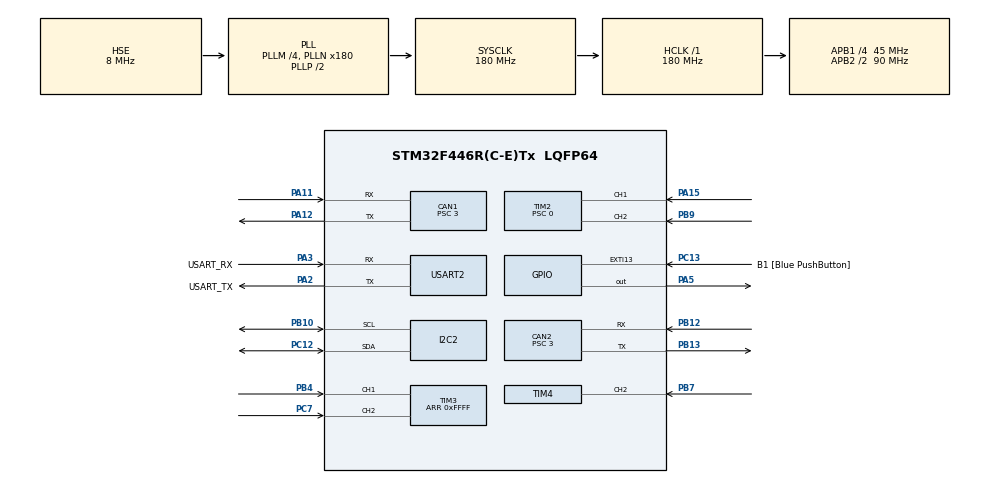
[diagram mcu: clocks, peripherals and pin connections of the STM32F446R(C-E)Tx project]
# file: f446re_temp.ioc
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CAN1.BS1=CAN_BS1_12TQ
CAN1.BS2=CAN_BS2_2TQ
CAN1.CalculateBaudRate=1000000
CAN1.CalculateTimeBit=1000
CAN1.CalculateTimeQuantum=66.66666666666666
CAN1.Prescaler=3
CAN2.BS1=CAN_BS1_12TQ
CAN2.BS2=CAN_BS2_2TQ
CAN2.CalculateBaudRate=1000000
CAN2.CalculateTimeBit=1000
CAN2.CalculateTimeQuantum=66.66666666666666
CAN2.Prescaler=3
Dma.Request0=USART2_RX
Dma.Request1=USART2_TX
Dma.USART2_RX.0.Direction=DMA_PERIPH_TO_MEMORY
Dma.USART2_RX.0.FIFOMode=DMA_FIFOMODE_DISABLE
Dma.USART2_RX.0.Instance=DMA1_Stream5
Dma.USART2_RX.0.MemDataAlignment=DMA_MDATAALIGN_BYTE
Dma.USART2_RX.0.MemInc=DMA_MINC_ENABLE
Dma.USART2_RX.0.Mode=DMA_CIRCULAR
Dma.USART2_RX.0.PeriphDataAlignment=DMA_PDATAALIGN_BYTE
Dma.USART2_RX.0.PeriphInc=DMA_PINC_DISABLE
Dma.USART2_RX.0.Priority=DMA_PRIORITY_VERY_HIGH
Dma.USART2_TX.1.Direction=DMA_MEMORY_TO_PERIPH
Dma.USART2_TX.1.FIFOMode=DMA_FIFOMODE_DISABLE
Dma.USART2_TX.1.Instance=DMA1_Stream6
Dma.USART2_TX.1.MemDataAlignment=DMA_MDATAALIGN_BYTE
Dma.USART2_TX.1.MemInc=DMA_MINC_ENABLE
Dma.USART2_TX.1.Mode=DMA_NORMAL
Dma.USART2_TX.1.PeriphDataAlignment=DMA_PDATAALIGN_BYTE
Dma.USART2_TX.1.PeriphInc=DMA_PINC_DISABLE
Dma.USART2_TX.1.Priority=DMA_PRIORITY_VERY_HIGH
FREERTOS.Tasks01=defaultTask,24,3000,StartDefaultTask,Default,NULL,Dynamic,NULL,NULL;myTask02,8,128,StartTask02,Default,NULL,Dynamic,NULL,NULL
Mcu.Family=STM32F4
Mcu.Name=STM32F446R(C-E)Tx
Mcu.Package=LQFP64
NVIC.CAN1_RX0_IRQn=true\:5\:0\:false\:false\:true\:true\:true\:true\:true
NVIC.DMA1_Stream5_IRQn=true\:5\:0\:false\:false\:true\:true\:false\:true\:true
NVIC.DMA1_Stream6_IRQn=true\:5\:0\:false\:false\:true\:true\:false\:true\:true
NVIC.PriorityGroup=NVIC_PRIORITYGROUP_4
NVIC.TIM6_DAC_IRQn=true\:15\:0\:false\:false\:true\:false\:false\:true\:true
NVIC.TimeBase=TIM6_DAC_IRQn
NVIC.TimeBaseIP=TIM6
NVIC.USART2_IRQn=true\:5\:0\:false\:false\:true\:true\:true\:true\:true
PA11.Mode=CAN_Activate
PA11.Signal=CAN1_RX
PA12.Mode=CAN_Activate
PA12.Signal=CAN1_TX
PA13.GPIO_Label=TMS
PA13.Mode=Serial_Wire
PA13.Signal=SYS_JTMS-SWDIO
PA14.GPIO_Label=TCK
PA14.Mode=Serial_Wire
PA14.Signal=SYS_JTCK-SWCLK
PA15.Signal=S_TIM2_CH1_ETR
PA2.GPIO_Label=USART_TX
PA2.Mode=Asynchronous
PA2.Signal=USART2_TX
PA3.GPIO_Label=USART_RX
PA3.Mode=Asynchronous
PA3.Signal=USART2_RX
PA5.Signal=GPIO_Output
PB10.GPIO_Pu=GPIO_PULLUP
PB10.Mode=I2C
PB10.Signal=I2C2_SCL
PB12.Mode=CAN_Activate
PB12.Signal=CAN2_RX
PB13.Mode=CAN_Activate
PB13.Signal=CAN2_TX
PB3.GPIO_Label=SWO
PB3.Signal=SYS_JTDO-SWO
PB4.Signal=S_TIM3_CH1
PB7.Signal=S_TIM4_CH2
PB9.Signal=S_TIM2_CH2
PC12.GPIO_Pu=GPIO_PULLUP
PC12.Mode=I2C
PC12.Signal=I2C2_SDA
PC13.GPIO_Label=B1 [Blue PushButton]
PC13.GPIO_ModeDefaultEXTI=GPIO_MODE_IT_FALLING
PC13.Signal=GPXTI13
PC14-OSC32_IN.Mode=LSE-External-Oscillator
PC14-OSC32_IN.Signal=RCC_OSC32_IN
PC15-OSC32_OUT.Mode=LSE-External-Oscillator
PC15-OSC32_OUT.Signal=RCC_OSC32_OUT
PC7.Signal=S_TIM3_CH2
PH0-OSC_IN.Mode=HSE-External-Oscillator
PH0-OSC_IN.Signal=RCC_OSC_IN
PH1-OSC_OUT.Mode=HSE-External-Oscillator
PH1-OSC_OUT.Signal=RCC_OSC_OUT
ProjectManager.HeapSize=0x200
ProjectManager.StackSize=0x400
ProjectManager.TargetToolchain=STM32CubeIDE
RCC.48MHZClocksFreq_Value=84000000
RCC.AHBFreq_Value=180000000
RCC.APB1CLKDivider=RCC_HCLK_DIV4
RCC.APB1Freq_Value=45000000
RCC.APB1TimFreq_Value=90000000
RCC.APB2CLKDivider=RCC_HCLK_DIV2
RCC.APB2Freq_Value=90000000
RCC.APB2TimFreq_Value=180000000
RCC.CortexFreq_Value=180000000
RCC.FLatency-AdvancedSettings=FLASH_LATENCY_5
RCC.HCLKFreq_Value=180000000
RCC.HSE_VALUE=8000000
RCC.HSI_VALUE=16000000
RCC.PLLM=4
RCC.PLLN=180
RCC.PLLSourceVirtual=RCC_PLLSOURCE_HSE
RCC.SYSCLKFreq_VALUE=180000000
RCC.SYSCLKSource=RCC_SYSCLKSOURCE_PLLCLK
RCC.USBFreq_Value=180000000
RCC.VCOOutputFreq_Value=360000000
SH.S_TIM2_CH1_ETR.0=TIM2_CH1,Encoder_Interface
SH.S_TIM2_CH2.0=TIM2_CH2,Encoder_Interface
SH.S_TIM3_CH1.0=TIM3_CH1,Encoder_Interface
SH.S_TIM3_CH2.0=TIM3_CH2,Encoder_Interface
SH.S_TIM4_CH2.0=TIM4_CH2,PWM_Input_2
TIM2.EncoderMode=TIM_ENCODERMODE_TI12
TIM2.Period=0xFFFFFFFF
TIM2.Prescaler=0
TIM3.EncoderMode=TIM_ENCODERMODE_TI12
TIM3.Period=0xFFFF
USART2.VirtualMode=VM_ASYNC
VP_FREERTOS_VS_CMSIS_V2.Mode=CMSIS_V2
VP_SYS_VS_tim6.Mode=TIM6
board=NUCLEO-F446RE

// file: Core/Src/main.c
/* USER CODE BEGIN Header */
/**
  ******************************************************************************
  * @file           : main.c
  * @brief          : Main program body
  ******************************************************************************
  * @attention
  *
  * Copyright (c) 2023 STMicroelectronics.
  * All rights reserved.
  *
  * This software is licensed under terms that can be found in the LICENSE file
  * in the root directory of this software component.
  * If no LICENSE file comes with this software, it is provided AS-IS.
  *
  ******************************************************************************
  */
/* USER CODE END Header */
#include "main.h"
#include "cmsis_os.h"

/* USER CODE BEGIN Includes */
#include <rcl/rcl.h>
#include <rcl/error_handling.h>
#include <rclc/rclc.h>
#include <rclc/executor.h>
#include <uxr/client/transport.h>
#include <rmw_microxrcedds_c/config.h>
#include <rmw_microros/rmw_microros.h>
#include "bno055_stm32.h"
#include "Encoder.h"
#include "PS5.h"
#include "duty.h"
#include "ODrive.h"
#include "Robomaster.h"

#include <std_msgs/msg/int32.h>
#include <std_msgs/msg/float32.h>
#include <std_msgs/msg/string.h>
#include <std_msgs/msg/int32_multi_array.h>
#include <geometry_msgs/msg/twist.h>
#include <sensor_msgs/msg/joy.h>
#include <sensor_msgs/msg/imu.h>
#include <rosidl_runtime_c/string_functions.h>

#include <stdio.h>
#include <string.h>
#include <math.h>
/* USER CODE END Includes */

/* USER CODE BEGIN PD */
#define RCCHECK(fn) do { \
	rcl_ret_t temp_rc = (fn); \
	if ((temp_rc != RCL_RET_OK)) { \
		rcl_last_error_line = (uint32_t)__LINE__; \
		rcl_last_error_code = (int32_t)temp_rc; \
		rcl_hard_error_count++; \
		return; \
	} \
} while(0)
#define RCSOFTCHECK(fn) do { \
	rcl_ret_t temp_rc = (fn); \
	if ((temp_rc != RCL_RET_OK)) { \
		rcl_last_error_line = (uint32_t)__LINE__; \
		rcl_last_error_code = (int32_t)temp_rc; \
		rcl_soft_error_count++; \
	} \
} while(0)
/* USER CODE END PD */

/* USER CODE BEGIN PM */
rcl_publisher_t publisher_float;
std_msgs__msg__Float32 pub_float_msg;

rcl_publisher_t publisher_int;
std_msgs__msg__Int32 pub_int_msg;

rcl_publisher_t publisher_en;
std_msgs__msg__Int32 pub_en_msg;

rcl_publisher_t publisher_can;
std_msgs__msg__Int32 pub_can_msg;

rcl_publisher_t publisher_ext;
std_msgs__msg__Float32 pub_ext_msg;

rcl_publisher_t publisher_can_ext;
std_msgs__msg__String pub_can_ext_msg;

rcl_publisher_t publisher;
std_msgs__msg__String msg;
/* USER CODE END PM */

CAN_HandleTypeDef hcan1;
CAN_HandleTypeDef hcan2;

I2C_HandleTypeDef hi2c2;

TIM_HandleTypeDef htim2;
TIM_HandleTypeDef htim3;
TIM_HandleTypeDef htim4;

UART_HandleTypeDef huart2;
DMA_HandleTypeDef hdma_usart2_rx;
DMA_HandleTypeDef hdma_usart2_tx;

/* Definitions for defaultTask */
osThreadId_t defaultTaskHandle;
const osThreadAttr_t defaultTask_attributes = {
  .name = "defaultTask",
  .stack_size = 3000 * 4,
  .priority = (osPriority_t) osPriorityNormal,
};
/* Definitions for myTask02 */
osThreadId_t myTask02Handle;
const osThreadAttr_t myTask02_attributes = {
  .name = "myTask02",
  .stack_size = 128 * 4,
  .priority = (osPriority_t) osPriorityLow,
};
/* Definitions for canTxTask */
osThreadId_t canTxTaskHandle;
const osThreadAttr_t canTxTask_attributes = {
  .name = "canTxTask",
  .stack_size = 128 * 4,
  .priority = (osPriority_t) osPriorityLow,
};
/* USER CODE BEGIN PV */
PS5 ps5;
float can_1 = 0;
Axis axis1;
Axis axis2;
Axis axis3;
Axis axis4;
static uint8_t can1_ready = 0U;
static uint8_t can2_ready = 0U;
static volatile uint32_t can1_rx_overflow_count = 0U;
static volatile uint32_t can2_rx_error_count = 0U;
static volatile uint32_t can1_tx_drop_count = 0U;
static volatile uint32_t can1_tx_error_count = 0U;
static volatile uint32_t ps5_last_rx_ms = 0U;
static volatile uint32_t cmd_vel_last_rx_ms = 0U;
static volatile float cmd_vel_linear_x = 0.0f;
static volatile float cmd_vel_linear_y = 0.0f;
static volatile float cmd_vel_angular_z = 0.0f;
static volatile uint8_t emergency_stop_active = 0U;
static volatile uint32_t rcl_last_error_line = 0U;
static volatile int32_t rcl_last_error_code = 0;
static volatile uint32_t rcl_hard_error_count = 0U;
static volatile uint32_t rcl_soft_error_count = 0U;
static volatile uint32_t default_task_error_flags = 0U;
static volatile uint32_t task_create_error_flags = 0U;
static volatile uint32_t can_init_error_flags = 0U;

#define DEFAULT_TASK_ERR_ALLOCATOR   (1UL << 0)
#define DEFAULT_TASK_ERR_IMU_INIT    (1UL << 1)
#define DEFAULT_TASK_ERR_FRAME_ID    (1UL << 2)
#define TASK_CREATE_ERR_DEFAULT      (1UL << 0)
#define TASK_CREATE_ERR_TASK02       (1UL << 1)
#define TASK_CREATE_ERR_CANTX        (1UL << 2)
#define CAN_INIT_ERR_CAN1_START      (1UL << 0)
#define CAN_INIT_ERR_CAN2_START      (1UL << 1)
#define CAN_INIT_ERR_CAN1_NOTIFY     (1UL << 2)
#define CAN_INIT_ERR_CAN2_NOTIFY     (1UL << 3)
#define CAN_INIT_ERR_TXQ_CREATE      (1UL << 4)

#define PS5_INPUT_TIMEOUT_MS 200U

#define ODRIVE_MONITOR_NODE_COUNT 4U
static const uint8_t odrive_monitor_node_order[ODRIVE_MONITOR_NODE_COUNT] = {1U, 2U, 3U, 4U};
static volatile uint32_t odrive_hb_rx_count[ODRIVE_MONITOR_NODE_COUNT] = {0U, 0U, 0U, 0U};
static volatile uint32_t odrive_hb_last_tick_ms[ODRIVE_MONITOR_NODE_COUNT] = {0U, 0U, 0U, 0U};
static volatile int32_t odrive_hb_last_gap_ms[ODRIVE_MONITOR_NODE_COUNT] = {-1, -1, -1, -1};
static volatile uint32_t odrive_hb_max_gap_ms[ODRIVE_MONITOR_NODE_COUNT] = {0U, 0U, 0U, 0U};
static volatile uint32_t odrive_hb_seq_ok_count = 0U;
static volatile uint32_t odrive_hb_seq_ng_count = 0U;
static volatile uint8_t odrive_hb_expected_order_idx = 0U;

double g_heading = 0.0;
double g_roll = 0.0;
double g_pitch = 0.0;

double g_quaternion_w = 0.0;
double g_quaternion_x = 0.0;
double g_quaternion_y = 0.0;
double g_quaternion_z = 0.0;

double g_accel_x = 0.0;
double g_accel_y = 0.0;
double g_accel_z = 0.0;

double g_gyro_x = 0.0;
double g_gyro_y = 0.0;
double g_gyro_z = 0.0;

double g_mag_x = 0.0;
double g_mag_y = 0.0;
double g_mag_z = 0.0;

double g_linear_accel_x = 0.0;
double g_linear_accel_y = 0.0;
double g_linear_accel_z = 0.0;

double g_gravity_x = 0.0;
double g_gravity_y = 0.0;
double g_gravity_z = 0.0;

uint8_t g_calib_system = 0;
uint8_t g_calib_gyro = 0;
uint8_t g_calib_accel = 0;
uint8_t g_calib_mag = 0;

int8_t g_temperature = 0;
/* USER CODE END PV */

void SystemClock_Config(void);
static void MX_GPIO_Init(void);
static void MX_DMA_Init(void);
static void MX_USART2_UART_Init(void);
static void MX_TIM2_Init(void);
static void MX_CAN1_Init(void);
static void MX_CAN2_Init(void);
static void MX_TIM3_Init(void);
static void MX_TIM4_Init(void);
static void MX_I2C2_Init(void);
void StartDefaultTask(void *argument);
void StartTask02(void *argument);
void StartCanTxTask(void *argument);

/* USER CODE BEGIN PFP */
void sendCAN1(uint32_t id, uint8_t data[], int dlc);
void sendCAN2(uint32_t id, uint8_t data[], int dlc);
void C610_C620(uint32_t id, int16_t order_data[], int can_port);

/* USER CODE END PFP */

/* USER CODE BEGIN 0 */
CAN_RxHeaderTypeDef RxHeaderCAN1;
uint8_t RxDataCAN1[8];

CAN_RxHeaderTypeDef RxHeaderCAN2;
uint8_t RxDataCAN2[8];

uint32_t id;
uint32_t dlc;
uint8_t dataCAN1[8];
uint8_t dataCAN2[8];

#define CAN_TX_QUEUE_LENGTH 32U
typedef struct
{
	CAN_HandleTypeDef *hcan;
	uint32_t std_id;
	uint8_t dlc;
	uint8_t data[8];
} can_tx_request_t;
static osMessageQueueId_t canTxQueueHandle = NULL;
static volatile uint32_t can_tx_queue_fallback_count = 0U;

void updateSensorData(void)
{
  bno055_vector_t euler = bno055_getVectorEuler();
  g_heading = euler.x;
  g_roll = euler.y;
  g_pitch = euler.z;

  bno055_vector_t quat = bno055_getVectorQuaternion();
  g_quaternion_w = quat.w;
  g_quaternion_x = quat.x;
  g_quaternion_y = quat.y;
  g_quaternion_z = quat.z;

  bno055_vector_t accel = bno055_getVectorAccelerometer();
  g_accel_x = accel.x;
  g_accel_y = accel.y;
  g_accel_z = accel.z;

  bno055_vector_t gyro = bno055_getVectorGyroscope();
  g_gyro_x = gyro.x;
  g_gyro_y = gyro.y;
  g_gyro_z = gyro.z;

  bno055_vector_t mag = bno055_getVectorMagnetometer();
  g_mag_x = mag.x;
  g_mag_y = mag.y;
  g_mag_z = mag.z;

  bno055_vector_t linear = bno055_getVectorLinearAccel();
  g_linear_accel_x = linear.x;
  g_linear_accel_y = linear.y;
  g_linear_accel_z = linear.z;

  bno055_vector_t gravity = bno055_getVectorGravity();
  g_gravity_x = gravity.x;
  g_gravity_y = gravity.y;
  g_gravity_z = gravity.z;

  bno055_calibration_state_t calib = bno055_getCalibrationState();
  g_calib_system = calib.sys;
  g_calib_gyro = calib.gyro;
  g_calib_accel = calib.accel;
  g_calib_mag = calib.mag;

  g_temperature = bno055_getTemp();
}

typedef struct
{
	float kp;
	float ki;
	float kd;
	float integral;
	float prev_error;
	float integral_limit;
	float output_limit;
} m3508_pid_t;

#define ODRIVE_CMD_SET_AXIS_STATE            0x07U
#define ODRIVE_CMD_SET_CONTROLLER_MODE       0x0BU
#define ODRIVE_CMD_SET_INPUT_VEL             0x0DU
#define ODRIVE_CMD_CLEAR_ERRORS              0x18U
#define ODRIVE_AXIS_STATE_IDLE               1U
#define ODRIVE_AXIS_STATE_CLOSED_LOOP_CTRL   8U
#define ODRIVE_CONTROL_MODE_VELOCITY         2U
#define ODRIVE_INPUT_MODE_VEL_RAMP           2U
#define ODRIVE_START_BOOST_MS                700U
#define ODRIVE_CMD_ZERO_EPS_REV_S            0.03f
#define ODRIVE_START_CMD_VEL_TH_REV_S        0.15f
#define ODRIVE_START_ACTUAL_VEL_TH_REV_S     0.08f
#define ODRIVE_CANCEL_ACTUAL_VEL_TH_REV_S    0.30f
#define ODRIVE_START_BOOST_MAX_NM            1.20f
#define ODRIVE_STOP_RESET_ZERO_HOLD_MS       150U
#define ODRIVE_STOP_RESET_IDLE_HOLD_MS       30U
#define ODRIVE_STOP_RESET_RECOVER_MS         30U
#define ODRIVE_CMD_RAMP_ACCEL_REV_S2         4.0f
#define ODRIVE_TX_PERIOD_S                   0.01f
#define ODRIVE_CMD_RAMP_STEP_REV_S           (ODRIVE_CMD_RAMP_ACCEL_REV_S2 * ODRIVE_TX_PERIOD_S)
#define ODRIVE_TWO_PI                        6.28318530718f
#define ODRIVE_JOY_DEADZONE                  0.08f
#define ODRIVE_MAX_VX_MPS                    0.35f
#define ODRIVE_MAX_VY_MPS                    0.35f
#define ODRIVE_MAX_WZ_RADPS                  1.00f
#define ODRIVE_WHEEL_RADIUS_M                0.05f
#define ODRIVE_FR_X_M                        0.228f
#define ODRIVE_FR_Y_M                        0.135f
#define ODRIVE_FL_X_M                        0.228f
#define ODRIVE_FL_Y_M                        0.135f
#define ODRIVE_BR_X_M                        0.102f
#define ODRIVE_BR_Y_M                        0.135f
#define ODRIVE_BL_X_M                        0.102f
#define ODRIVE_BL_Y_M                        0.135f
#define ODRIVE_WHEEL_CMD_MAX_REV_S           3.0f
#define ODRIVE_CROSS_CMD_REV_S               1.0f

int16_t m3508_current_cmd[4] = {0, 0, 0, 0};
m3508_pid_t m3508_speed_pid[4];
int16_t m3508_target_rpm[4] = {0, 0, 0, 0};
moto_measure_t moto1;
moto_measure_t m3508_moto[4];

typedef struct
{
	uint8_t active;
	uint32_t start_ms;
	float prev_cmd_vel;
	float boost_sign;
} odrive_start_boost_state_t;

static odrive_start_boost_state_t odrive_boost_axis1 = {0U, 0U, 0.0f, 0.0f};
static odrive_start_boost_state_t odrive_boost_axis2 = {0U, 0U, 0.0f, 0.0f};
static odrive_start_boost_state_t odrive_boost_axis3 = {0U, 0U, 0.0f, 0.0f};
static odrive_start_boost_state_t odrive_boost_axis4 = {0U, 0U, 0.0f, 0.0f};
static float odrive_cmd_vel_axis1 = 0.0f;
static float odrive_cmd_vel_axis2 = 0.0f;
static float odrive_cmd_vel_axis3 = 0.0f;
static float odrive_cmd_vel_axis4 = 0.0f;

typedef enum
{
	ODRIVE_STOP_RESET_NONE = 0,
	ODRIVE_STOP_RESET_IDLE_SENT,
	ODRIVE_STOP_RESET_CLOSED_LOOP_SENT
} odrive_stop_reset_state_t;

static odrive_stop_reset_state_t odrive_stop_reset_state = ODRIVE_STOP_RESET_NONE;
static uint8_t odrive_stop_reset_armed = 0U;
static uint32_t odrive_stop_zero_start_ms = 0U;
static uint32_t odrive_stop_reset_step_ms = 0U;

static float clampf(float value, float limit)
{
	if (value > limit) return limit;
	if (value < -limit) return -limit;
	return value;
}

static float signf_nonzero(float value)
{
	return (value >= 0.0f) ? 1.0f : -1.0f;
}

static void odrive_reset_start_boost(odrive_start_boost_state_t *state)
{
	if (state == NULL) {
		return;
	}
	state->active = 0U;
	state->start_ms = 0U;
	state->prev_cmd_vel = 0.0f;
	state->boost_sign = 0.0f;
}

static void odrive_reset_start_boost_all(void)
{
	odrive_reset_start_boost(&odrive_boost_axis1);
	odrive_reset_start_boost(&odrive_boost_axis2);
	odrive_reset_start_boost(&odrive_boost_axis3);
	odrive_reset_start_boost(&odrive_boost_axis4);
}

static void odrive_reset_command_ramp_all(void)
{
	odrive_cmd_vel_axis1 = 0.0f;
	odrive_cmd_vel_axis2 = 0.0f;
	odrive_cmd_vel_axis3 = 0.0f;
	odrive_cmd_vel_axis4 = 0.0f;
}

static float ramp_to(float cur, float tgt, float max_step)
{
	float delta = tgt - cur;
	if (delta > max_step) {
		delta = max_step;
	} else if (delta < -max_step) {
		delta = -max_step;
	}
	return cur + delta;
}

static float apply_deadzone(float value, float deadzone)
{
	const float abs_value = fabsf(value);
	if (abs_value <= deadzone) {
		return 0.0f;
	}
	return signf_nonzero(value) * ((abs_value - deadzone) / (1.0f - deadzone));
}

static float odrive_compute_start_boost_ff(
	Axis *axis,
	odrive_start_boost_state_t *state,
	float cmd_vel,
	uint32_t now_ms)
{
	if ((axis == NULL) || (state == NULL)) {
		return 0.0f;
	}

	const float abs_prev_cmd = fabsf(state->prev_cmd_vel);
	const float abs_cmd = fabsf(cmd_vel);
	const float abs_actual_vel = fabsf(axis->feedback.vel_estimate);
	const float cmd_sign = signf_nonzero(cmd_vel);
	float torque_ff = 0.0f;

	// Trigger only on stop -> move transition while the wheel is still near zero speed.
	if ((state->active == 0U) &&
		(abs_prev_cmd <= ODRIVE_CMD_ZERO_EPS_REV_S) &&
		(abs_cmd >= ODRIVE_START_CMD_VEL_TH_REV_S) &&
		(abs_actual_vel <= ODRIVE_START_ACTUAL_VEL_TH_REV_S)) {
		state->active = 1U;
		state->start_ms = now_ms;
		state->boost_sign = cmd_sign;
	}

	if (state->active == 1U) {
		const uint32_t elapsed_ms = (uint32_t)(now_ms - state->start_ms);
		const uint8_t sign_changed = ((cmd_vel * state->boost_sign) <= 0.0f) ? 1U : 0U;
		if ((elapsed_ms >= ODRIVE_START_BOOST_MS) ||
			(abs_actual_vel >= ODRIVE_CANCEL_ACTUAL_VEL_TH_REV_S) ||
			(abs_cmd < ODRIVE_START_CMD_VEL_TH_REV_S) ||
			(sign_changed == 1U)) {
			state->active = 0U;
		} else {
			// Keep static-friction cancellation strong until wheel starts moving.
			torque_ff = state->boost_sign * ODRIVE_START_BOOST_MAX_NM;
		}
	}

	state->prev_cmd_vel = cmd_vel;
	return clampf(torque_ff, ODRIVE_START_BOOST_MAX_NM);
}

static uint32_t odrive_make_can_id(uint8_t axis_id, uint8_t cmd_id)
{
	return (((uint32_t)axis_id << 5U) | ((uint32_t)cmd_id & 0x1FU));
}

static void odrive_send_frame(Axis *axis, uint8_t cmd_id, const uint8_t payload[8], uint8_t dlc)
{
	uint32_t can_id = odrive_make_can_id(axis->AXIS_ID, cmd_id);

	if (axis->CAN_INSTANCE == &hcan1) {
		sendCAN1(can_id, (uint8_t *)payload, dlc);
	} else if (axis->CAN_INSTANCE == &hcan2) {
		sendCAN2(can_id, (uint8_t *)payload, dlc);
	}
}

static void odrive_set_axis_state(Axis *axis, uint32_t axis_state)
{
	uint8_t payload[8] = {0};
	memcpy(&payload[0], &axis_state, sizeof(axis_state)); // little-endian uint32
	odrive_send_frame(axis, ODRIVE_CMD_SET_AXIS_STATE, payload, 4U);
}

static void odrive_set_input_vel(Axis *axis, float vel_rev_s, float torque_ff_nm)
{
	uint8_t payload[8] = {0};
	memcpy(&payload[0], &vel_rev_s, sizeof(vel_rev_s));         // little-endian float32
	memcpy(&payload[4], &torque_ff_nm, sizeof(torque_ff_nm));   // little-endian float32
	odrive_send_frame(axis, ODRIVE_CMD_SET_INPUT_VEL, payload, 8U);
}

static void odrive_set_controller_mode(Axis *axis, uint32_t control_mode, uint32_t input_mode)
{
	uint8_t payload[8] = {0};
	memcpy(&payload[0], &control_mode, sizeof(control_mode)); // little-endian uint32
	memcpy(&payload[4], &input_mode, sizeof(input_mode));     // little-endian uint32
	odrive_send_frame(axis, ODRIVE_CMD_SET_CONTROLLER_MODE, payload, 8U);
}

static void emergency_stop_all_motors(void)
{
	odrive_reset_start_boost_all();
	odrive_reset_command_ramp_all();
	odrive_stop_reset_state = ODRIVE_STOP_RESET_NONE;
	odrive_stop_reset_armed = 0U;
	odrive_stop_zero_start_ms = 0U;
	odrive_stop_reset_step_ms = 0U;

	// ODrive: command zero velocity to all axes.
	odrive_set_input_vel(&axis4, 0.0f, 0.0f);
	odrive_set_input_vel(&axis3, 0.0f, 0.0f);
	odrive_set_input_vel(&axis2, 0.0f, 0.0f);
	odrive_set_input_vel(&axis1, 0.0f, 0.0f);

	// RoboMaster: zero all targets/currents and send zero current frame.
//	for (int i = 0; i < 4; i++) {
//		m3508_target_rpm[i] = 0;
//		m3508_current_cmd[i] = 0;
//	}
//	C610_C620(0x200, m3508_current_cmd, 2);
}

static void odrive_enter_closed_loop_all(void)
{
	odrive_reset_start_boost_all();
	odrive_reset_command_ramp_all();
	odrive_set_controller_mode(&axis4, ODRIVE_CONTROL_MODE_VELOCITY, ODRIVE_INPUT_MODE_VEL_RAMP);
	osDelay(2);
	odrive_set_controller_mode(&axis3, ODRIVE_CONTROL_MODE_VELOCITY, ODRIVE_INPUT_MODE_VEL_RAMP);
	osDelay(2);
	odrive_set_controller_mode(&axis2, ODRIVE_CONTROL_MODE_VELOCITY, ODRIVE_INPUT_MODE_VEL_RAMP);
	osDelay(2);
	odrive_set_controller_mode(&axis1, ODRIVE_CONTROL_MODE_VELOCITY, ODRIVE_INPUT_MODE_VEL_RAMP);
	osDelay(2);

	odrive_set_axis_state(&axis4, ODRIVE_AXIS_STATE_CLOSED_LOOP_CTRL);
	osDelay(2);
	odrive_set_axis_state(&axis3, ODRIVE_AXIS_STATE_CLOSED_LOOP_CTRL);
	osDelay(2);
	odrive_set_axis_state(&axis2, ODRIVE_AXIS_STATE_CLOSED_LOOP_CTRL);
	osDelay(2);
	odrive_set_axis_state(&axis1, ODRIVE_AXIS_STATE_CLOSED_LOOP_CTRL);
}

static void odrive_enter_idle_all(void)
{
	odrive_reset_start_boost_all();
	odrive_reset_command_ramp_all();
	odrive_set_axis_state(&axis4, ODRIVE_AXIS_STATE_IDLE);
	odrive_set_axis_state(&axis3, ODRIVE_AXIS_STATE_IDLE);
	odrive_set_axis_state(&axis2, ODRIVE_AXIS_STATE_IDLE);
	odrive_set_axis_state(&axis1, ODRIVE_AXIS_STATE_IDLE);
}

static uint8_t odrive_handle_stop_integrator_reset(uint8_t command_active, uint32_t now_ms)
{
	if (command_active == 1U) {
		odrive_stop_reset_armed = 1U;
		odrive_stop_zero_start_ms = 0U;
		if (odrive_stop_reset_state != ODRIVE_STOP_RESET_NONE) {
			odrive_enter_closed_loop_all();
			odrive_stop_reset_state = ODRIVE_STOP_RESET_NONE;
		}
		return 0U;
	}

	if (odrive_stop_reset_armed == 0U) {
		return 0U;
	}

	if (odrive_stop_reset_state == ODRIVE_STOP_RESET_NONE) {
		if (odrive_stop_zero_start_ms == 0U) {
			odrive_stop_zero_start_ms = now_ms;
			return 0U;
		}
		if ((now_ms - odrive_stop_zero_start_ms) >= ODRIVE_STOP_RESET_ZERO_HOLD_MS) {
			odrive_enter_idle_all();
			odrive_stop_reset_state = ODRIVE_STOP_RESET_IDLE_SENT;
			odrive_stop_reset_step_ms = now_ms;
			return 1U;
		}
		return 0U;
	}

	if (odrive_stop_reset_state == ODRIVE_STOP_RESET_IDLE_SENT) {
		if ((now_ms - odrive_stop_reset_step_ms) >= ODRIVE_STOP_RESET_IDLE_HOLD_MS) {
			odrive_enter_closed_loop_all();
			odrive_stop_reset_state = ODRIVE_STOP_RESET_CLOSED_LOOP_SENT;
			odrive_stop_reset_step_ms = now_ms;
		}
		return 1U;
	}

	if (odrive_stop_reset_state == ODRIVE_STOP_RESET_CLOSED_LOOP_SENT) {
		if ((now_ms - odrive_stop_reset_step_ms) >= ODRIVE_STOP_RESET_RECOVER_MS) {
			odrive_stop_reset_state = ODRIVE_STOP_RESET_NONE;
			odrive_stop_reset_armed = 0U;
			odrive_stop_zero_start_ms = 0U;
			odrive_stop_reset_step_ms = 0U;
			return 0U;
		}
		return 1U;
	}

	return 0U;
}

static void odrive_dpad_control_from_ps5(void)
{
	const uint8_t cmd_vel_stale = ((HAL_GetTick() - cmd_vel_last_rx_ms) > PS5_INPUT_TIMEOUT_MS) ? 1U : 0U;

	float node1_vel = 0.0f;
	float node2_vel = 0.0f;
	float node3_vel = 0.0f;
	float node4_vel = 0.0f;

	if (cmd_vel_stale == 0U) {
		const float vx_mps = clampf(cmd_vel_linear_x, ODRIVE_MAX_VX_MPS);
		const float vy_mps = clampf(cmd_vel_linear_y, ODRIVE_MAX_VY_MPS);
		const float wz_radps = clampf(cmd_vel_angular_z, ODRIVE_MAX_WZ_RADPS);

		const float inv_wheel_circ = 1.0f / (ODRIVE_TWO_PI * ODRIVE_WHEEL_RADIUS_M);
		const float k_fr = ODRIVE_FR_X_M + ODRIVE_FR_Y_M;
		const float k_fl = ODRIVE_FL_X_M + ODRIVE_FL_Y_M;
		const float k_br = ODRIVE_BR_X_M + ODRIVE_BR_Y_M;
		const float k_bl = ODRIVE_BL_X_M + ODRIVE_BL_Y_M;

		node1_vel = (-vx_mps + vy_mps + (k_fr * wz_radps)) * inv_wheel_circ;
		node2_vel = ( vx_mps + vy_mps + (k_fl * wz_radps)) * inv_wheel_circ;
		node3_vel = (-vx_mps - vy_mps + (k_br * wz_radps)) * inv_wheel_circ;
		node4_vel = ( vx_mps - vy_mps + (k_bl * wz_radps)) * inv_wheel_circ;

		node1_vel = clampf(node1_vel, ODRIVE_WHEEL_CMD_MAX_REV_S);
		node2_vel = clampf(node2_vel, ODRIVE_WHEEL_CMD_MAX_REV_S);
		node3_vel = clampf(node3_vel, ODRIVE_WHEEL_CMD_MAX_REV_S);
		node4_vel = clampf(node4_vel, ODRIVE_WHEEL_CMD_MAX_REV_S);
	}

	odrive_set_input_vel(&axis4, node4_vel, 0.0f);
	odrive_set_input_vel(&axis3, node3_vel, 0.0f);
	odrive_set_input_vel(&axis2, node2_vel, 0.0f);
	odrive_set_input_vel(&axis1, node1_vel, 0.0f);
}

static int8_t odrive_monitor_order_index(uint8_t node_id)
{
	for (uint8_t i = 0U; i < ODRIVE_MONITOR_NODE_COUNT; i++) {
		if (odrive_monitor_node_order[i] == node_id) {
			return (int8_t)i;
		}
	}
	return -1;
}

static void odrive_monitor_on_rx(const CAN_RxHeaderTypeDef *rxHdr)
{
	if (rxHdr == NULL) {
		return;
	}

	if ((rxHdr->IDE != CAN_ID_STD) || (rxHdr->RTR != CAN_RTR_DATA)) {
		return;
	}

	const uint8_t cmd_id = (uint8_t)(rxHdr->StdId & 0x1FU);
	if (cmd_id != HEARTBEAT) {
		return;
	}

	const uint8_t node_id = (uint8_t)(rxHdr->StdId >> 5);
	const int8_t idx = odrive_monitor_order_index(node_id);
	if (idx < 0) {
		return;
	}

	const uint32_t now_ms = HAL_GetTick();
	const uint32_t prev_ms = odrive_hb_last_tick_ms[(uint8_t)idx];

	if (prev_ms != 0U) {
		const uint32_t gap_ms = now_ms - prev_ms;
		odrive_hb_last_gap_ms[(uint8_t)idx] = (int32_t)gap_ms;
		if (gap_ms > odrive_hb_max_gap_ms[(uint8_t)idx]) {
			odrive_hb_max_gap_ms[(uint8_t)idx] = gap_ms;
		}
	}

	odrive_hb_last_tick_ms[(uint8_t)idx] = now_ms;
	odrive_hb_rx_count[(uint8_t)idx]++;
}

void m3508_pid_init(m3508_pid_t *pid, float kp, float ki, float kd, float integral_limit, float output_limit)
{
	pid->kp = kp;
	pid->ki = ki;
	pid->kd = kd;
	pid->integral = 0.0f;
	pid->prev_error = 0.0f;
	pid->integral_limit = integral_limit;
	pid->output_limit = output_limit;
}

int16_t m3508_pid_calc(m3508_pid_t *pid, int16_t target_rpm, int16_t feedback_rpm)
{
	float error = (float)target_rpm - (float)feedback_rpm;
	pid->integral += error;
	pid->integral = clampf(pid->integral, pid->integral_limit);

	float derivative = error - pid->prev_error;
	pid->prev_error = error;

	float output = pid->kp * error + pid->ki * pid->integral + pid->kd * derivative;
	output = clampf(output, pid->output_limit);

	return (int16_t)output;
}

void m3508_pid_init_all(void)
{
		// Start with conservative gains, then tune on hardware
		m3508_pid_init(&m3508_speed_pid[0], 11.9f, 0.02f, 0.0f, 8000.0f, 10000.0f);
		m3508_pid_init(&m3508_speed_pid[1], 8.9f, 0.12f, 0.0f, 8000.0f, 10000.0f);
		m3508_pid_init(&m3508_speed_pid[2], 22.5f, 0.02f, 0.0f, 8000.0f, 10000.0f);
		m3508_pid_init(&m3508_speed_pid[3], 14.0f, 0.07f, 0.0f, 8000.0f, 10000.0f);

}

void m3508_speed_pid_control_all(void)
{
	for (int i = 0; i < 4; i++) {
		int16_t target_rpm = m3508_target_rpm[i];
		if ((i == 0) || (i == 2)) {
			target_rpm = (int16_t)(-target_rpm);
		}

		if (m3508_moto[i].msg_cnt > 50) {
			m3508_current_cmd[i] = m3508_pid_calc(&m3508_speed_pid[i], target_rpm, m3508_moto[i].speed_rpm);
		} else {
			m3508_current_cmd[i] = 0;
		}
	}
}

void HAL_CAN_RxFifo0MsgPendingCallback(CAN_HandleTypeDef *hcan)
{

    if(hcan->Instance == CAN1){
        CAN_RxHeaderTypeDef rxHdr;
        uint8_t rxData[8];
        uint8_t handled = 0U;
        const uint8_t max_frames_per_irq = 8U;

        // ISR占有を防ぐため、1回のIRQで処理するフレーム数を制限する
        while ((HAL_CAN_GetRxFifoFillLevel(hcan, CAN_RX_FIFO0) > 0U) &&
               (handled < max_frames_per_irq)) {
       //	 HAL_GPIO_TogglePin(GPIOA, GPIO_PIN_5);
            if (HAL_CAN_GetRxMessage(hcan, CAN_RX_FIFO0, &rxHdr, rxData) != HAL_OK) {
                break;
            }
            handled++;

            if ((rxHdr.IDE == CAN_ID_STD) && (((uint8_t)(rxHdr.StdId >> 5)) == 4U)) {

            }

            odrive_monitor_on_rx(&rxHdr);

            // CAN1: ODrive axis2/4
            (void)ODrive_ProcessRx(&axis4, &rxHdr, rxData);
            (void)ODrive_ProcessRx(&axis2, &rxHdr, rxData);
        }

        if (HAL_CAN_GetRxFifoFillLevel(hcan, CAN_RX_FIFO0) > 0U) {
            can1_rx_overflow_count++;
        }
    } else if(hcan->Instance == CAN2){
        uint8_t handled = 0U;
        const uint8_t max_frames_per_irq = 8U;

        while ((HAL_CAN_GetRxFifoFillLevel(hcan, CAN_RX_FIFO0) > 0U) &&
               (handled < max_frames_per_irq)) {
            if (HAL_CAN_GetRxMessage(hcan, CAN_RX_FIFO0, &RxHeaderCAN2, RxDataCAN2) != HAL_OK) {
                can2_rx_error_count++;
                break;
            }
            handled++;

//            if (RxHeaderCAN2.IDE == CAN_ID_STD &&
//                RxHeaderCAN2.StdId >= 0x201 &&
//                RxHeaderCAN2.StdId <= 0x204) {
//
//                uint8_t idx = (uint8_t)(RxHeaderCAN2.StdId - 0x201);
//                m3508_moto[idx].msg_cnt++ <= 50 ?
//                    get_moto_offset(&m3508_moto[idx], RxDataCAN2) :
//                    encoder_data_handler(&m3508_moto[idx], RxDataCAN2);
//            }

            odrive_monitor_on_rx(&RxHeaderCAN2);

            // CAN2: ODrive axis1/3 + M3508
            (void)ODrive_ProcessRx(&axis3, &RxHeaderCAN2, RxDataCAN2);
            (void)ODrive_ProcessRx(&axis1, &RxHeaderCAN2, RxDataCAN2);

            id = (RxHeaderCAN2.IDE == CAN_ID_STD)? RxHeaderCAN2.StdId : RxHeaderCAN2.ExtId;
            dlc = RxHeaderCAN2.DLC;
            for(int i=0; i<RxHeaderCAN2.DLC; i++){
                dataCAN2[i] = RxDataCAN2[i];
            }
        }
    }
}

void subscription_cmd_vel_callback(const void * msgin)
{
  HAL_GPIO_WritePin(GPIOA, GPIO_PIN_5, GPIO_PIN_SET); //LED turned on

  geometry_msgs__msg__Twist * msg = (geometry_msgs__msg__Twist *)msgin;

  cmd_vel_linear_x = (float)msg->linear.x;
  cmd_vel_linear_y = (float)msg->linear.y;
  cmd_vel_angular_z = (float)msg->angular.z;
  cmd_vel_last_rx_ms = HAL_GetTick();
}

static void can_enqueue_tx(CAN_HandleTypeDef *hcan, uint32_t id, const uint8_t data[], uint8_t dlc)
{
	if ((hcan == NULL) || (data == NULL)) {
		return;
	}

	if (canTxQueueHandle == NULL) {
		CAN_TxHeaderTypeDef tx_header;
		uint32_t tx_mailbox = 0U;
		memset(&tx_header, 0, sizeof(tx_header));
		tx_header.StdId = id;
		tx_header.IDE = CAN_ID_STD;
		tx_header.RTR = CAN_RTR_DATA;
		tx_header.DLC = (dlc <= 8U) ? dlc : 8U;
		tx_header.TransmitGlobalTime = DISABLE;

		if (HAL_CAN_AddTxMessage(hcan, &tx_header, (uint8_t *)data, &tx_mailbox) != HAL_OK) {
			can1_tx_drop_count++;
		}
		can_tx_queue_fallback_count++;
		return;
	}

	can_tx_request_t req = {0};
	req.hcan = hcan;
	req.std_id = id;
	req.dlc = (dlc <= 8U) ? dlc : 8U;
	for (uint8_t i = 0U; i < req.dlc; i++) {
		req.data[i] = data[i];
	}

	if (osMessageQueuePut(canTxQueueHandle, &req, 0U, 0U) != osOK) {
		// Queue full: drop the oldest request and retry once to keep latest command.
		can_tx_request_t stale_req;
		if (osMessageQueueGet(canTxQueueHandle, &stale_req, NULL, 0U) == osOK) {
			if (osMessageQueuePut(canTxQueueHandle, &req, 0U, 0U) != osOK) {
				can1_tx_drop_count++;
			}
		} else {
			can1_tx_drop_count++;
		}
	}
}

void StartCanTxTask(void *argument)
{
	(void)argument;

	CAN_TxHeaderTypeDef tx_header;
	uint32_t tx_mailbox = 0U;
	can_tx_request_t req;

	memset(&tx_header, 0, sizeof(tx_header));
	tx_header.IDE = CAN_ID_STD;
	tx_header.RTR = CAN_RTR_DATA;
	tx_header.TransmitGlobalTime = DISABLE;

	for (;;) {
		if (canTxQueueHandle == NULL) {
			osDelay(10);
			continue;
		}

		if (osMessageQueueGet(canTxQueueHandle, &req, NULL, osWaitForever) != osOK) {
			continue;
		}

		if ((req.hcan == NULL) || (req.dlc > 8U)) {
			continue;
		}

		while (HAL_CAN_GetTxMailboxesFreeLevel(req.hcan) == 0U) {
			osDelay(1);
		}

		tx_header.StdId = req.std_id;
		tx_header.DLC = req.dlc;

		if (HAL_CAN_AddTxMessage(req.hcan, &tx_header, req.data, &tx_mailbox) != HAL_OK) {
			if (req.hcan == &hcan1) {
				can1_tx_error_count++;
			}
		}
		osThreadYield();
	}
}

void sendCAN1(uint32_t id, uint8_t data[], int dlc){
	if (can1_ready == 0U) {
		return;
	}
	can_enqueue_tx(&hcan1, id, data, (dlc < 0) ? 0U : (uint8_t)dlc);
}

void sendCAN2(uint32_t id, uint8_t data[], int dlc){
	if (can2_ready == 0U) {
		return;
	}
	can_enqueue_tx(&hcan2, id, data, (dlc < 0) ? 0U : (uint8_t)dlc);
}

//id 0x200 or 0x1FF
void C610_C620(uint32_t id, int16_t order_data[], int can_port)
{
	// C610/C620: 4 motors x 16-bit current command in one CAN frame (0x200/0x1FF)
	uint8_t data[8];

	data[0] = (uint8_t)(order_data[0] >> 8);
	data[1] = (uint8_t)(order_data[0]);
	data[2] = (uint8_t)(order_data[1] >> 8);
	data[3] = (uint8_t)(order_data[1]);
	data[4] = (uint8_t)(order_data[2] >> 8);
	data[5] = (uint8_t)(order_data[2]);
	data[6] = (uint8_t)(order_data[3] >> 8);
	data[7] = (uint8_t)(order_data[3]);

	if(can_port == 1)
	{
			sendCAN1(id, data, 8U);
		}
		if(can_port == 2){
			sendCAN2(id, data, 8U);
		}
}
void robomaster_test(void){
	int16_t target_rpm = 0;

	if ((HAL_GetTick() - ps5_last_rx_ms) > PS5_INPUT_TIMEOUT_MS) {
		for (int i = 0; i < 4; i++) {
			m3508_target_rpm[i] = 0;
		}
		return;
	}

	if(ps5.triangle_btn == 1){
		target_rpm = 1000;
	} else if (ps5.cross_btn == 1) {
		target_rpm = -1000;
	}

	// M3508 x4: same speed target [rpm]
	for (int i = 0; i < 4; i++) {
		m3508_target_rpm[i] = target_rpm;
	}
}
/* USER CODE END 0 */

int main(void)
{

  /* MCU Configuration--------------------------------------------------------*/

  /* Reset of all peripherals, Initializes the Flash interface and the Systick. */
  HAL_Init();

  /* Configure the system clock */
  SystemClock_Config();

  /* Initialize all configured peripherals */
  MX_GPIO_Init();
  MX_DMA_Init();
  MX_USART2_UART_Init();
  MX_TIM2_Init();
  MX_CAN1_Init();
  MX_CAN2_Init();
  MX_TIM3_Init();
  MX_TIM4_Init();
  MX_I2C2_Init();
  /* USER CODE BEGIN 2 */
  // CANスタート（未接続でも起動を継続する）
  if (HAL_CAN_Start(&hcan1) == HAL_OK) {
    can1_ready = 1U;
  } else {
    can1_ready = 0U;
    can_init_error_flags |= CAN_INIT_ERR_CAN1_START;
  }
  if (HAL_CAN_Start(&hcan2) == HAL_OK) {
    can2_ready = 1U;
  } else {
    can2_ready = 0U;
    can_init_error_flags |= CAN_INIT_ERR_CAN2_START;
  }

  // 割り込み有効（開始できたCANのみ）
  if (can1_ready == 1U) {
    if (HAL_CAN_ActivateNotification(&hcan1, CAN_IT_RX_FIFO0_MSG_PENDING) != HAL_OK) {
      can1_ready = 0U;
      can_init_error_flags |= CAN_INIT_ERR_CAN1_NOTIFY;
    }
  }
  if (can2_ready == 1U) {
    if (HAL_CAN_ActivateNotification(&hcan2, CAN_IT_RX_FIFO0_MSG_PENDING) != HAL_OK) {
      can2_ready = 0U;
      can_init_error_flags |= CAN_INIT_ERR_CAN2_NOTIFY;
    }
  }
  axis1.CAN_INSTANCE = &hcan2;
  axis1.AXIS_ID = 1;

  axis2.CAN_INSTANCE = &hcan1;
  axis2.AXIS_ID = 2;

  axis3.CAN_INSTANCE = &hcan2;
  axis3.AXIS_ID = 3;

  axis4.CAN_INSTANCE = &hcan1;
  axis4.AXIS_ID = 4;
//  m3508_pid_init_all();

  bno055_assignI2C(&hi2c2);
  bno055_setup();
  bno055_setOperationModeNDOF();
  /* USER CODE END 2 */

  /* Init scheduler */
  osKernelInitialize();

  /* Create the thread(s) */
  /* creation of defaultTask */
  defaultTaskHandle = osThreadNew(StartDefaultTask, NULL, &defaultTask_attributes);
  if (defaultTaskHandle == NULL) {
    task_create_error_flags |= TASK_CREATE_ERR_DEFAULT;
  }

  /* creation of myTask02 */
  myTask02Handle = osThreadNew(StartTask02, NULL, &myTask02_attributes);
  if (myTask02Handle == NULL) {
    task_create_error_flags |= TASK_CREATE_ERR_TASK02;
  }

  /* USER CODE BEGIN RTOS_THREADS */
  /* add threads, ... */
  canTxQueueHandle = osMessageQueueNew(CAN_TX_QUEUE_LENGTH, sizeof(can_tx_request_t), NULL);
  if (canTxQueueHandle != NULL) {
    canTxTaskHandle = osThreadNew(StartCanTxTask, NULL, &canTxTask_attributes);
    if (canTxTaskHandle == NULL) {
      task_create_error_flags |= TASK_CREATE_ERR_CANTX;
    }
  } else {
    can_init_error_flags |= CAN_INIT_ERR_TXQ_CREATE;
  }
  /* USER CODE END RTOS_THREADS */

  /* Start scheduler */
  osKernelStart();

  /* We should never get here as control is now taken by the scheduler */

  /* Infinite loop */
  while (1)
  {

  }
}

void SystemClock_Config(void)
{
  RCC_OscInitTypeDef RCC_OscInitStruct = {0};
  RCC_ClkInitTypeDef RCC_ClkInitStruct = {0};

  /** Configure the main internal regulator output voltage
  */
  __HAL_RCC_PWR_CLK_ENABLE();
  __HAL_PWR_VOLTAGESCALING_CONFIG(PWR_REGULATOR_VOLTAGE_SCALE1);

  /** Initializes the RCC Oscillators according to the specified parameters
  * in the RCC_OscInitTypeDef structure.
  */
  RCC_OscInitStruct.OscillatorType = RCC_OSCILLATORTYPE_HSE;
  RCC_OscInitStruct.HSEState = RCC_HSE_ON;
  RCC_OscInitStruct.PLL.PLLState = RCC_PLL_ON;
  RCC_OscInitStruct.PLL.PLLSource = RCC_PLLSOURCE_HSE;
  RCC_OscInitStruct.PLL.PLLM = 4;
  RCC_OscInitStruct.PLL.PLLN = 180;
  RCC_OscInitStruct.PLL.PLLP = RCC_PLLP_DIV2;
  RCC_OscInitStruct.PLL.PLLQ = 2;
  RCC_OscInitStruct.PLL.PLLR = 2;
  if (HAL_RCC_OscConfig(&RCC_OscInitStruct) != HAL_OK)
  {
    Error_Handler();
  }

  /** Activate the Over-Drive mode
  */
  if (HAL_PWREx_EnableOverDrive() != HAL_OK)
  {
    Error_Handler();
  }

  /** Initializes the CPU, AHB and APB buses clocks
  */
  RCC_ClkInitStruct.ClockType = RCC_CLOCKTYPE_HCLK|RCC_CLOCKTYPE_SYSCLK
                              |RCC_CLOCKTYPE_PCLK1|RCC_CLOCKTYPE_PCLK2;
  RCC_ClkInitStruct.SYSCLKSource = RCC_SYSCLKSOURCE_PLLCLK;
  RCC_ClkInitStruct.AHBCLKDivider = RCC_SYSCLK_DIV1;
  RCC_ClkInitStruct.APB1CLKDivider = RCC_HCLK_DIV4;
  RCC_ClkInitStruct.APB2CLKDivider = RCC_HCLK_DIV2;

  if (HAL_RCC_ClockConfig(&RCC_ClkInitStruct, FLASH_LATENCY_5) != HAL_OK)
  {
    Error_Handler();
  }
}

static void MX_CAN1_Init(void)
{

  hcan1.Instance = CAN1;
  hcan1.Init.Prescaler = 3;
  hcan1.Init.Mode = CAN_MODE_NORMAL;
  hcan1.Init.SyncJumpWidth = CAN_SJW_1TQ;
  hcan1.Init.TimeSeg1 = CAN_BS1_12TQ;
  hcan1.Init.TimeSeg2 = CAN_BS2_2TQ;
  hcan1.Init.TimeTriggeredMode = DISABLE;
  hcan1.Init.AutoBusOff = DISABLE;
  hcan1.Init.AutoWakeUp = DISABLE;
  hcan1.Init.AutoRetransmission = DISABLE;
  hcan1.Init.ReceiveFifoLocked = DISABLE;
  hcan1.Init.TransmitFifoPriority = DISABLE;
  if (HAL_CAN_Init(&hcan1) != HAL_OK)
  {
    Error_Handler();
  }
  /* USER CODE BEGIN CAN1_Init 2 */
  CAN_FilterTypeDef sFilterConfig = {0};

  sFilterConfig.FilterIdHigh         = 0;                        // フィルターID(上位16ビット)
  sFilterConfig.FilterIdLow          = 0;                        // フィルターID(下位16ビット)
  sFilterConfig.FilterMaskIdHigh     = 0;                        // フィルターマスク(上位16ビット)
  sFilterConfig.FilterMaskIdLow      = 0;                        // フィルターマスク(下位16ビット)
  sFilterConfig.FilterScale          = CAN_FILTERSCALE_32BIT;    // フィルタースケール
  sFilterConfig.FilterFIFOAssignment = CAN_FILTER_FIFO0;         // フィルターに割り当てるFIFO
  sFilterConfig.FilterBank           = 0;                        // フィルターバンクNo
  sFilterConfig.FilterMode           = CAN_FILTERMODE_IDMASK;    // フィルターモード
  sFilterConfig.SlaveStartFilterBank = 14;                       // スレーブCANの開始フィルターバンクNo
  sFilterConfig.FilterActivation     = ENABLE;                   // フィルター無効／有効

  if (HAL_CAN_ConfigFilter(&hcan1, &sFilterConfig) != HAL_OK) {
      Error_Handler();
  }
  /* USER CODE END CAN1_Init 2 */

}

static void MX_CAN2_Init(void)
{

  hcan2.Instance = CAN2;
  hcan2.Init.Prescaler = 3;
  hcan2.Init.Mode = CAN_MODE_NORMAL;
  hcan2.Init.SyncJumpWidth = CAN_SJW_1TQ;
  hcan2.Init.TimeSeg1 = CAN_BS1_12TQ;
  hcan2.Init.TimeSeg2 = CAN_BS2_2TQ;
  hcan2.Init.TimeTriggeredMode = DISABLE;
  hcan2.Init.AutoBusOff = DISABLE;
  hcan2.Init.AutoWakeUp = DISABLE;
  hcan2.Init.AutoRetransmission = DISABLE;
  hcan2.Init.ReceiveFifoLocked = DISABLE;
  hcan2.Init.TransmitFifoPriority = DISABLE;
  if (HAL_CAN_Init(&hcan2) != HAL_OK)
  {
    Error_Handler();
  }
  /* USER CODE BEGIN CAN2_Init 2 */
  CAN_FilterTypeDef sFilterConfig = {0};

  sFilterConfig.FilterIdHigh         = 0;                        // フィルターID(上位16ビット)
  sFilterConfig.FilterIdLow          = 0;                        // フィルターID(下位16ビット)
  sFilterConfig.FilterMaskIdHigh     = 0;                        // フィルターマスク(上位16ビット)
  sFilterConfig.FilterMaskIdLow      = 0;                        // フィルターマスク(下位16ビット)
  sFilterConfig.FilterScale          = CAN_FILTERSCALE_32BIT;    // フィルタースケール
  sFilterConfig.FilterFIFOAssignment = CAN_FILTER_FIFO0;         // フィルターに割り当てるFIFO
  sFilterConfig.FilterBank           = 14;                        // フィルターバンクNo
  sFilterConfig.FilterMode           = CAN_FILTERMODE_IDMASK;    // フィルターモード
  sFilterConfig.SlaveStartFilterBank = 14;                       // スレーブCANの開始フィルターバンクNo
  sFilterConfig.FilterActivation     = ENABLE;                   // フィルター無効／有効

  if (HAL_CAN_ConfigFilter(&hcan2, &sFilterConfig) != HAL_OK) {
      Error_Handler();
  }
  /* USER CODE END CAN2_Init 2 */

}

static void MX_I2C2_Init(void)
{

  hi2c2.Instance = I2C2;
  hi2c2.Init.ClockSpeed = 100000;
  hi2c2.Init.DutyCycle = I2C_DUTYCYCLE_2;
  hi2c2.Init.OwnAddress1 = 0;
  hi2c2.Init.AddressingMode = I2C_ADDRESSINGMODE_7BIT;
  hi2c2.Init.DualAddressMode = I2C_DUALADDRESS_DISABLE;
  hi2c2.Init.OwnAddress2 = 0;
  hi2c2.Init.GeneralCallMode = I2C_GENERALCALL_DISABLE;
  hi2c2.Init.NoStretchMode = I2C_NOSTRETCH_DISABLE;
  if (HAL_I2C_Init(&hi2c2) != HAL_OK)
  {
    Error_Handler();
  }

}

static void MX_TIM2_Init(void)
{

  TIM_Encoder_InitTypeDef sConfig = {0};
  TIM_MasterConfigTypeDef sMasterConfig = {0};

  htim2.Instance = TIM2;
  htim2.Init.Prescaler = 0;
  htim2.Init.CounterMode = TIM_COUNTERMODE_UP;
  htim2.Init.Period = 0xFFFFFFFF;
  htim2.Init.ClockDivision = TIM_CLOCKDIVISION_DIV1;
  htim2.Init.AutoReloadPreload = TIM_AUTORELOAD_PRELOAD_DISABLE;
  sConfig.EncoderMode = TIM_ENCODERMODE_TI12;
  sConfig.IC1Polarity = TIM_ICPOLARITY_RISING;
  sConfig.IC1Selection = TIM_ICSELECTION_DIRECTTI;
  sConfig.IC1Prescaler = TIM_ICPSC_DIV1;
  sConfig.IC1Filter = 0;
  sConfig.IC2Polarity = TIM_ICPOLARITY_RISING;
  sConfig.IC2Selection = TIM_ICSELECTION_DIRECTTI;
  sConfig.IC2Prescaler = TIM_ICPSC_DIV1;
  sConfig.IC2Filter = 0;
  if (HAL_TIM_Encoder_Init(&htim2, &sConfig) != HAL_OK)
  {
    Error_Handler();
  }
  sMasterConfig.MasterOutputTrigger = TIM_TRGO_RESET;
  sMasterConfig.MasterSlaveMode = TIM_MASTERSLAVEMODE_DISABLE;
  if (HAL_TIMEx_MasterConfigSynchronization(&htim2, &sMasterConfig) != HAL_OK)
  {
    Error_Handler();
  }

}

static void MX_TIM3_Init(void)
{

  TIM_Encoder_InitTypeDef sConfig = {0};
  TIM_MasterConfigTypeDef sMasterConfig = {0};

  htim3.Instance = TIM3;
  htim3.Init.Prescaler = 0;
  htim3.Init.CounterMode = TIM_COUNTERMODE_UP;
  htim3.Init.Period = 0xFFFF;
  htim3.Init.ClockDivision = TIM_CLOCKDIVISION_DIV1;
  htim3.Init.AutoReloadPreload = TIM_AUTORELOAD_PRELOAD_DISABLE;
  sConfig.EncoderMode = TIM_ENCODERMODE_TI12;
  sConfig.IC1Polarity = TIM_ICPOLARITY_RISING;
  sConfig.IC1Selection = TIM_ICSELECTION_DIRECTTI;
  sConfig.IC1Prescaler = TIM_ICPSC_DIV1;
  sConfig.IC1Filter = 0;
  sConfig.IC2Polarity = TIM_ICPOLARITY_RISING;
  sConfig.IC2Selection = TIM_ICSELECTION_DIRECTTI;
  sConfig.IC2Prescaler = TIM_ICPSC_DIV1;
  sConfig.IC2Filter = 0;
  if (HAL_TIM_Encoder_Init(&htim3, &sConfig) != HAL_OK)
  {
    Error_Handler();
  }
  sMasterConfig.MasterOutputTrigger = TIM_TRGO_RESET;
  sMasterConfig.MasterSlaveMode = TIM_MASTERSLAVEMODE_DISABLE;
  if (HAL_TIMEx_MasterConfigSynchronization(&htim3, &sMasterConfig) != HAL_OK)
  {
    Error_Handler();
  }

}

static void MX_TIM4_Init(void)
{

  TIM_SlaveConfigTypeDef sSlaveConfig = {0};
  TIM_IC_InitTypeDef sConfigIC = {0};
  TIM_MasterConfigTypeDef sMasterConfig = {0};

  htim4.Instance = TIM4;
  htim4.Init.Prescaler = 0;
  htim4.Init.CounterMode = TIM_COUNTERMODE_UP;
  htim4.Init.Period = 65535;
  htim4.Init.ClockDivision = TIM_CLOCKDIVISION_DIV1;
  htim4.Init.AutoReloadPreload = TIM_AUTORELOAD_PRELOAD_DISABLE;
  if (HAL_TIM_IC_Init(&htim4) != HAL_OK)
  {
    Error_Handler();
  }
  sSlaveConfig.SlaveMode = TIM_SLAVEMODE_RESET;
  sSlaveConfig.InputTrigger = TIM_TS_TI2FP2;
  sSlaveConfig.TriggerPolarity = TIM_INPUTCHANNELPOLARITY_FALLING;
  sSlaveConfig.TriggerPrescaler = TIM_ICPSC_DIV1;
  sSlaveConfig.TriggerFilter = 0;
  if (HAL_TIM_SlaveConfigSynchro(&htim4, &sSlaveConfig) != HAL_OK)
  {
    Error_Handler();
  }
  sConfigIC.ICPolarity = TIM_INPUTCHANNELPOLARITY_RISING;
  sConfigIC.ICSelection = TIM_ICSELECTION_INDIRECTTI;
  sConfigIC.ICPrescaler = TIM_ICPSC_DIV1;
  sConfigIC.ICFilter = 0;
  if (HAL_TIM_IC_ConfigChannel(&htim4, &sConfigIC, TIM_CHANNEL_1) != HAL_OK)
  {
    Error_Handler();
  }
  sConfigIC.ICPolarity = TIM_INPUTCHANNELPOLARITY_FALLING;
  sConfigIC.ICSelection = TIM_ICSELECTION_DIRECTTI;
  if (HAL_TIM_IC_ConfigChannel(&htim4, &sConfigIC, TIM_CHANNEL_2) != HAL_OK)
  {
    Error_Handler();
  }
  sMasterConfig.MasterOutputTrigger = TIM_TRGO_RESET;
  sMasterConfig.MasterSlaveMode = TIM_MASTERSLAVEMODE_DISABLE;
  if (HAL_TIMEx_MasterConfigSynchronization(&htim4, &sMasterConfig) != HAL_OK)
  {
    Error_Handler();
  }

}

static void MX_USART2_UART_Init(void)
{

  huart2.Instance = USART2;
  huart2.Init.BaudRate = 115200;
  huart2.Init.WordLength = UART_WORDLENGTH_8B;
  huart2.Init.StopBits = UART_STOPBITS_1;
  huart2.Init.Parity = UART_PARITY_NONE;
  huart2.Init.Mode = UART_MODE_TX_RX;
  huart2.Init.HwFlowCtl = UART_HWCONTROL_NONE;
  huart2.Init.OverSampling = UART_OVERSAMPLING_16;
  if (HAL_UART_Init(&huart2) != HAL_OK)
  {
    Error_Handler();
  }

}

static void MX_DMA_Init(void)
{

  /* DMA controller clock enable */
  __HAL_RCC_DMA1_CLK_ENABLE();

  /* DMA interrupt init */
  /* DMA1_Stream5_IRQn interrupt configuration */
  HAL_NVIC_SetPriority(DMA1_Stream5_IRQn, 5, 0);
  HAL_NVIC_EnableIRQ(DMA1_Stream5_IRQn);
  /* DMA1_Stream6_IRQn interrupt configuration */
  HAL_NVIC_SetPriority(DMA1_Stream6_IRQn, 5, 0);
  HAL_NVIC_EnableIRQ(DMA1_Stream6_IRQn);

}

static void MX_GPIO_Init(void)
{
  GPIO_InitTypeDef GPIO_InitStruct = {0};

  /* GPIO Ports Clock Enable */
  __HAL_RCC_GPIOC_CLK_ENABLE();
  __HAL_RCC_GPIOH_CLK_ENABLE();
  __HAL_RCC_GPIOA_CLK_ENABLE();
  __HAL_RCC_GPIOB_CLK_ENABLE();

  /*Configure GPIO pin Output Level */
  HAL_GPIO_WritePin(GPIOA, GPIO_PIN_5, GPIO_PIN_RESET);

  /*Configure GPIO pin : B1_Pin */
  GPIO_InitStruct.Pin = B1_Pin;
  GPIO_InitStruct.Mode = GPIO_MODE_IT_FALLING;
  GPIO_InitStruct.Pull = GPIO_NOPULL;
  HAL_GPIO_Init(B1_GPIO_Port, &GPIO_InitStruct);

  /*Configure GPIO pin : PA5 */
  GPIO_InitStruct.Pin = GPIO_PIN_5;
  GPIO_InitStruct.Mode = GPIO_MODE_OUTPUT_PP;
  GPIO_InitStruct.Pull = GPIO_NOPULL;
  GPIO_InitStruct.Speed = GPIO_SPEED_FREQ_LOW;
  HAL_GPIO_Init(GPIOA, &GPIO_InitStruct);

}

/* USER CODE BEGIN 4 */
bool cubemx_transport_open(struct uxrCustomTransport * transport);
bool cubemx_transport_close(struct uxrCustomTransport * transport);
size_t cubemx_transport_write(struct uxrCustomTransport* transport, const uint8_t * buf, size_t len, uint8_t * err);
size_t cubemx_transport_read(struct uxrCustomTransport* transport, uint8_t* buf, size_t len, int timeout, uint8_t* err);

void * microros_allocate(size_t size, void * state);
void microros_deallocate(void * pointer, void * state);
void * microros_reallocate(void * pointer, size_t size, void * state);
void * microros_zero_allocate(size_t number_of_elements, size_t size_of_element, void * state);
/* USER CODE END 4 */

void StartDefaultTask(void *argument)
{
  /* USER CODE BEGIN 5 */
  /* Infinite loop */
	// micro-ROS configuration
	rmw_uros_set_custom_transport(
		true,
		(void *) &huart2,
		cubemx_transport_open,
		cubemx_transport_close,
		cubemx_transport_write,
		cubemx_transport_read);

	rcl_allocator_t freeRTOS_allocator = rcutils_get_zero_initialized_allocator();
	freeRTOS_allocator.allocate = microros_allocate;
	freeRTOS_allocator.deallocate = microros_deallocate;
	freeRTOS_allocator.reallocate = microros_reallocate;
	freeRTOS_allocator.zero_allocate = microros_zero_allocate;

	if (!rcutils_set_default_allocator(&freeRTOS_allocator)) {
		default_task_error_flags |= DEFAULT_TASK_ERR_ALLOCATOR;
		return;
	}

		rcl_subscription_t subscriber_cmd_vel;
		geometry_msgs__msg__Twist sub_cmd_vel_msg;
//		rcl_publisher_t m3508_telemetry_pub;
		rcl_publisher_t imu_pub;
//		std_msgs__msg__Int32MultiArray m3508_telemetry_msg;
		sensor_msgs__msg__Imu imu_msg;
//		int32_t m3508_telemetry_data[20];
		rclc_support_t support;
		rcl_allocator_t allocator;
		rcl_node_t node;

	allocator = rcl_get_default_allocator();

	rcl_init_options_t init_options = rcl_get_zero_initialized_init_options();
	RCCHECK(rcl_init_options_init(&init_options, allocator));
	size_t domain_id = (size_t)111;
	rcl_init_options_set_domain_id(&init_options, domain_id);

	RCCHECK(rclc_support_init_with_options(&support, 0, NULL, &init_options, &allocator));
		RCCHECK(rclc_node_init_default(&node, "f446re_node", "", &support));
//		RCCHECK(rclc_publisher_init_default(
//			&m3508_telemetry_pub,
//			&node,
//			ROSIDL_GET_MSG_TYPE_SUPPORT(std_msgs, msg, Int32MultiArray),
//			"/m3508/telemetry"));
		RCCHECK(rclc_publisher_init_default(
			&imu_pub,
			&node,
			ROSIDL_GET_MSG_TYPE_SUPPORT(sensor_msgs, msg, Imu),
			"/imu/data"));

		RCCHECK(rclc_subscription_init_default(
			&subscriber_cmd_vel,
		&node,
		ROSIDL_GET_MSG_TYPE_SUPPORT(geometry_msgs, msg, Twist),
		"/cmd_vel"));

	rclc_executor_t executor = rclc_executor_get_zero_initialized_executor();
	RCCHECK(rclc_executor_init(&executor, &support.context, 1, &allocator));
	RCCHECK(rclc_executor_add_subscription(&executor, &subscriber_cmd_vel, &sub_cmd_vel_msg, &subscription_cmd_vel_callback, ON_NEW_DATA));

	memset(&sub_cmd_vel_msg, 0, sizeof(sub_cmd_vel_msg));

//		memset(&m3508_telemetry_msg, 0, sizeof(m3508_telemetry_msg));
//		m3508_telemetry_msg.data.capacity = 20;
//		m3508_telemetry_msg.data.size = 20;
//		m3508_telemetry_msg.data.data = m3508_telemetry_data;

		memset(&imu_msg, 0, sizeof(imu_msg));
		if (!sensor_msgs__msg__Imu__init(&imu_msg)) {
			default_task_error_flags |= DEFAULT_TASK_ERR_IMU_INIT;
			return;
		}
		if (!rosidl_runtime_c__String__assign(&imu_msg.header.frame_id, "imu_link")) {
			default_task_error_flags |= DEFAULT_TASK_ERR_FRAME_ID;
			return;
		}
		imu_msg.orientation_covariance[0] = -1.0;
		imu_msg.angular_velocity_covariance[0] = -1.0;
		imu_msg.linear_acceleration_covariance[0] = -1.0;

		uint32_t last_pub_ms = HAL_GetTick();
		uint32_t last_imu_pub_ms = HAL_GetTick();
		while (1) {
			rclc_executor_spin_some(&executor, RCL_MS_TO_NS(1));

			uint32_t now_ms = HAL_GetTick();
//			if ((now_ms - last_pub_ms) >= 20U) {
//				last_pub_ms = now_ms;
//				for (int i = 0; i < 4; i++) {
//					int base = i * 5;
//					m3508_telemetry_data[base + 0] = (int32_t)m3508_target_rpm[i];
//					m3508_telemetry_data[base + 1] = (int32_t)m3508_moto[i].speed_rpm;
//					m3508_telemetry_data[base + 2] = (int32_t)m3508_current_cmd[i];
//					m3508_telemetry_data[base + 3] = (int32_t)m3508_moto[i].given_current;
//					m3508_telemetry_data[base + 4] = (int32_t)m3508_moto[i].msg_cnt;
//				}
//				RCSOFTCHECK(rcl_publish(&m3508_telemetry_pub, &m3508_telemetry_msg, NULL));
//			}

			if ((now_ms - last_imu_pub_ms) >= 100U) {
				last_imu_pub_ms = now_ms;
				updateSensorData();

				imu_msg.orientation.w = g_quaternion_w;
				imu_msg.orientation.x = g_quaternion_x;
				imu_msg.orientation.y = g_quaternion_y;
				imu_msg.orientation.z = g_quaternion_z;

				imu_msg.angular_velocity.x = g_gyro_x;
				imu_msg.angular_velocity.y = g_gyro_y;
				imu_msg.angular_velocity.z = g_gyro_z;

				imu_msg.linear_acceleration.x = g_linear_accel_x;
				imu_msg.linear_acceleration.y = g_linear_accel_y;
				imu_msg.linear_acceleration.z = g_linear_accel_z;

				RCSOFTCHECK(rcl_publish(&imu_pub, &imu_msg, NULL));
			}
		}

	sensor_msgs__msg__Imu__fini(&imu_msg);
	RCCHECK(rcl_publisher_fini(&imu_pub, &node));
//	RCCHECK(rcl_publisher_fini(&m3508_telemetry_pub, &node));
	RCCHECK(rcl_subscription_fini(&subscriber_cmd_vel, &node));
	RCCHECK(rcl_node_fini(&node));
  /* USER CODE END 5 */
}

void StartTask02(void *argument)
{
  /* USER CODE BEGIN StartTask02 */
  /* Infinite loop */
  uint8_t odrive_closed_loop_requested = 0U;
  uint32_t odrive_tx_last_ms = HAL_GetTick();
  uint32_t diag_last_ms = HAL_GetTick();
  const uint32_t odrive_tx_period_ms = 10U;
  for(;;)
  {
			if (odrive_closed_loop_requested == 0U) {
				odrive_enter_closed_loop_all();
				odrive_closed_loop_requested = 1U;
			}
			uint32_t now_ms = HAL_GetTick();

			if (emergency_stop_active == 1U) {
				if ((now_ms - odrive_tx_last_ms) >= odrive_tx_period_ms) {
					odrive_tx_last_ms = now_ms;
					emergency_stop_all_motors();
				}
				osDelay(1);
				continue;
			} else if ((now_ms - odrive_tx_last_ms) >= odrive_tx_period_ms) {
				odrive_tx_last_ms = now_ms;
				odrive_dpad_control_from_ps5();
			}

//			robomaster_test();
//			m3508_speed_pid_control_all();
//			C610_C620(0x200, m3508_current_cmd, 2);

			if ((now_ms - diag_last_ms) >= 1000U) {
				diag_last_ms = now_ms;
			}
    osDelay(1);
  }
  /* USER CODE END StartTask02 */
}

void HAL_TIM_PeriodElapsedCallback(TIM_HandleTypeDef *htim)
{
  if (htim->Instance == TIM6)
  {
    HAL_IncTick();
  }
}

void Error_Handler(void)
{
  __disable_irq();
  while (1)
  {
  }
}
